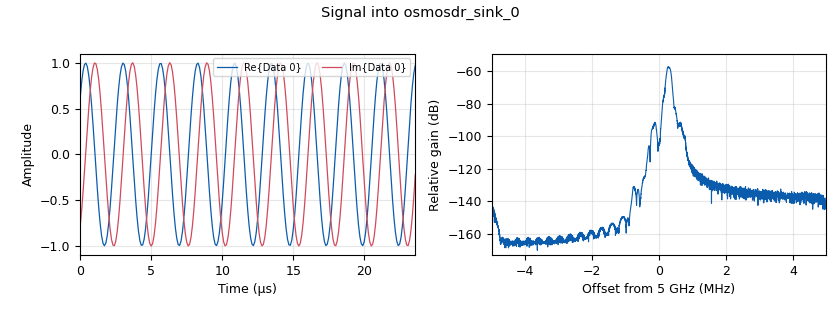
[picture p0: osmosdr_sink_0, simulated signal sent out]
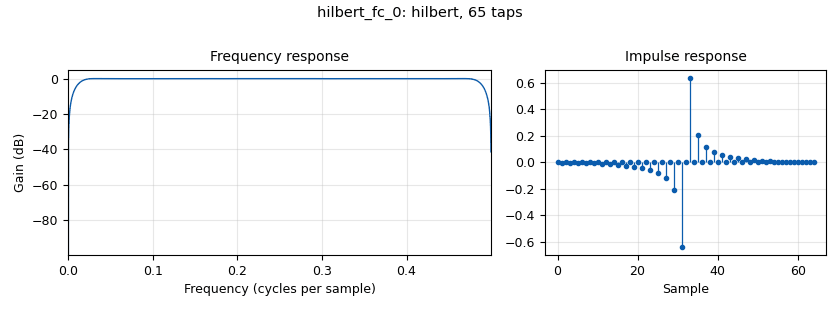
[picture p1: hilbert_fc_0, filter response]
options:
  parameters:
    author: popikeyshen
    generate_options: qt_gui
    id: radar_rectangle
    output_language: python
    title: Not titled yet
  states: {}

blocks:
- name: Bandwith
  id: variable_qtgui_range
  parameters:
    orient: Qt.Horizontal
    start: 1e5
    step: '100000'
    stop: 20e6
    value: 20e6
    widget: slider
  states: {}
- name: Frequency
  id: variable_qtgui_range
  parameters:
    orient: Qt.Horizontal
    start: 433e6
    step: 1e6
    stop: 5000e6
    value: 5000e6
    widget: slider
  states: {}
- name: samp_rate
  id: variable
  parameters:
    value: '32000'
  states: {}
- name: sample_rate
  id: variable
  parameters:
    value: int(10000000)
  states: {}
- name: analog_sig_source_x_0
  id: analog_sig_source_x
  parameters:
    amp: '1'
    freq: 1e3
    offset: '0'
    phase: '0'
    samp_rate: sample_rate
    type: float
    waveform: analog.GR_SAW_WAVE
  states: {}
- name: blocks_udp_sink_0
  id: blocks_udp_sink
  parameters:
    eof: 'True'
    ipaddr: 192.168.110.54
    port: '5000'
    psize: '1024'
    type: complex
    vlen: '1'
  states: {}
- name: blocks_vco_f_0
  id: blocks_vco_f
  parameters:
    amplitude: '1'
    samp_rate: sample_rate*2
    sensitivity: 10e6
  states: {}
- name: hilbert_fc_0
  id: hilbert_fc
  parameters:
    num_taps: '65'
    win: firdes.WIN_HAMMING
  states: {}
- name: low_pass_filter_0
  id: low_pass_filter
  parameters:
    cutoff_freq: 5e6
    decim: '1'
    gain: '1'
    samp_rate: sample_rate
    type: fir_filter_ccf
    width: 10e3
    win: firdes.WIN_HAMMING
  states: {}
- name: osmosdr_sink_0
  id: osmosdr_sink
  parameters:
    args: bladerf=0
    bb_gain0: '10'
    freq0: Frequency
    gain0: '5'
    if_gain0: '10'
    sample_rate: sample_rate
    sync: sync
    type: fc32
  states: {}
- name: osmosdr_source_0
  id: osmosdr_source
  parameters:
    args: bladerf=0
    bb_gain0: '20'
    freq0: Frequency
    gain0: '30'
    gain_mode0: 'False'
    if_gain0: '20'
    sample_rate: sample_rate
    sync: sync
    type: fc32
  states: {}
- name: qtgui_sink_x_0
  id: qtgui_sink_x
  parameters:
    bw: sample_rate
    fc: '0'
    fftsize: '1024'
    rate: '2'
    type: complex
    wintype: firdes.WIN_BLACKMAN_hARRIS
  states: {state: disabled}
- name: qtgui_sink_x_1_0
  id: qtgui_sink_x
  parameters:
    bw: sample_rate
    fc: '0'
    fftsize: '1024'
    type: complex
    wintype: firdes.WIN_BLACKMAN_hARRIS
  states: {}

connections:
- [analog_sig_source_x_0, '0', blocks_vco_f_0, '0']
- [blocks_vco_f_0, '0', hilbert_fc_0, '0']
- [hilbert_fc_0, '0', osmosdr_sink_0, '0']
- [low_pass_filter_0, '0', blocks_udp_sink_0, '0']
- [low_pass_filter_0, '0', qtgui_sink_x_0, '0']
- [low_pass_filter_0, '0', qtgui_sink_x_1_0, '0']
- [osmosdr_source_0, '0', low_pass_filter_0, '0']

metadata:
  file_format: 1
